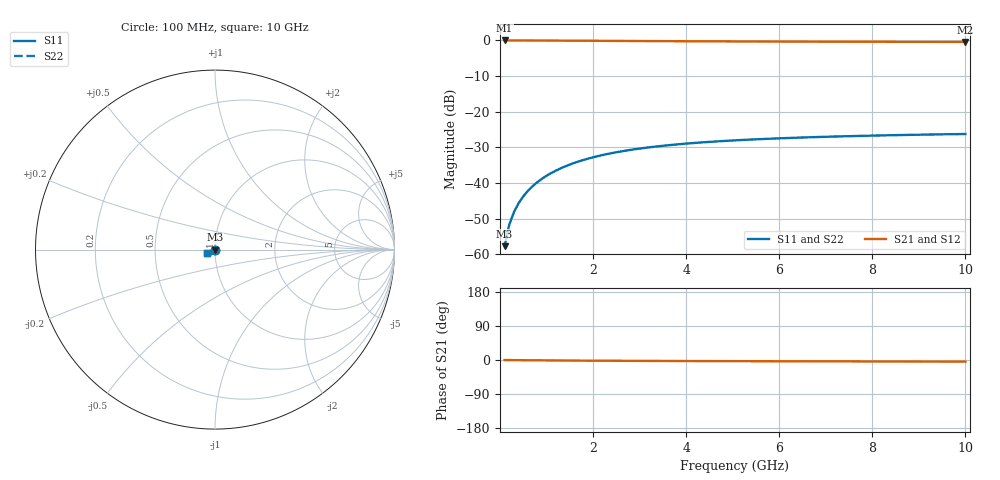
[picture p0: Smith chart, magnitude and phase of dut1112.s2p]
! Touchstone file exported from HFSS 2024.1.0
!  File:  C:/UserFiles/LocalFiles/RDL_TSV_Batchsim/temp_TSV1_1112_1780068314.aedt
!  Generated:  11:29:46 PM May 29, 2026
!  Design:  TSV1
!  Project:  temp_TSV1_1112_1780068314
!  Setup:  Setup1
!  Solution:  Sweep
! Variables:
!  dtsv = 12.88um
!  hbump = 3um
!  htsv = 63.62um
!  lrdl = 252.1521522um
!  p = 40
!  p1 = 44.09um
!  t = 500um
!  trdl = 3um
!  wrdl = 24.89489489um
# GHz S MA R 50.000000
! Terminal data exported
! Port[1] = TSV22_T1
! Port[2] = TSV22_T2
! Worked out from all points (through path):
!   100 points, 100 MHz to 10 GHz, reference 50 ohm
!   highest |S21| = 0.00 dB at 100 MHz (marker M1); lowest = -0.4 dB at 10 GHz (marker M2)
!   lowest |S11| = -57.7 dB at 100 MHz (marker M3), VSWR 1.00, Z = 50 - j0.13 ohm
!   |S11| at or under -10 dB: start of sweep to end of sweep
!   |S22| runs from -57.7 to -26.3 dB; largest |S21 - S12| = 2e-15
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0.1  0.001297 -88.0  0.9999 -0.1  0.9999 -0.1  0.001297 -88.0
! Gamma 0 0 0 0
! Port Impedance 50 0 50 0
0.2  0.0026 -91.1  0.9998 -0.2  0.9998 -0.2  0.0026 -91.1
0.3  0.003901 -93.2  0.9996 -0.3  0.9996 -0.3  0.003901 -93.2
0.4  0.005193 -95.0  0.9993 -0.4  0.9993 -0.4  0.005193 -95.0
0.5  0.006473 -96.8  0.999 -0.5  0.999 -0.5  0.006473 -96.8
0.6  0.007739 -98.4  0.9986 -0.6  0.9986 -0.6  0.007739 -98.4
0.7  0.008986 -100.0  0.9982 -0.7  0.9982 -0.7  0.008986 -100.0
0.8  0.01021 -101.5  0.9977 -0.8  0.9977 -0.8  0.01021 -101.5
0.9  0.01142 -103.1  0.9971 -0.9  0.9971 -0.9  0.01142 -103.1
1.1  0.01376 -106.0  0.9959 -1.1  0.9959 -1.1  0.01376 -106.0
1.4  0.01707 -110.1  0.9938 -1.4  0.9938 -1.4  0.01707 -110.1
1.6  0.01913 -112.7  0.9923 -1.5  0.9923 -1.5  0.01913 -112.7
1.8  0.02108 -115.2  0.9907 -1.7  0.9907 -1.7  0.02108 -115.2
2.1  0.02377 -118.7  0.9884 -1.9  0.9884 -1.9  0.02377 -118.7
2.5  0.02696 -123.0  0.9852 -2.1  0.9852 -2.1  0.02696 -123.0
2.9  0.02974 -126.8  0.9821 -2.3  0.9821 -2.3  0.02974 -126.8
3.4  0.0327 -131.0  0.9786 -2.5  0.9786 -2.5  0.0327 -131.0
4.2  0.03651 -136.6  0.9735 -2.8  0.9735 -2.8  0.03651 -136.6
5.1  0.03977 -141.7  0.9688 -3.1  0.9688 -3.1  0.03977 -141.7
6.7  0.04387 -148.5  0.9625 -3.5  0.9625 -3.5  0.04387 -148.5
8.4  0.04676 -153.9  0.9579 -3.9  0.9579 -3.9  0.04676 -153.9
10  0.04865 -157.8  0.9547 -4.3  0.9547 -4.3  0.04865 -157.8
